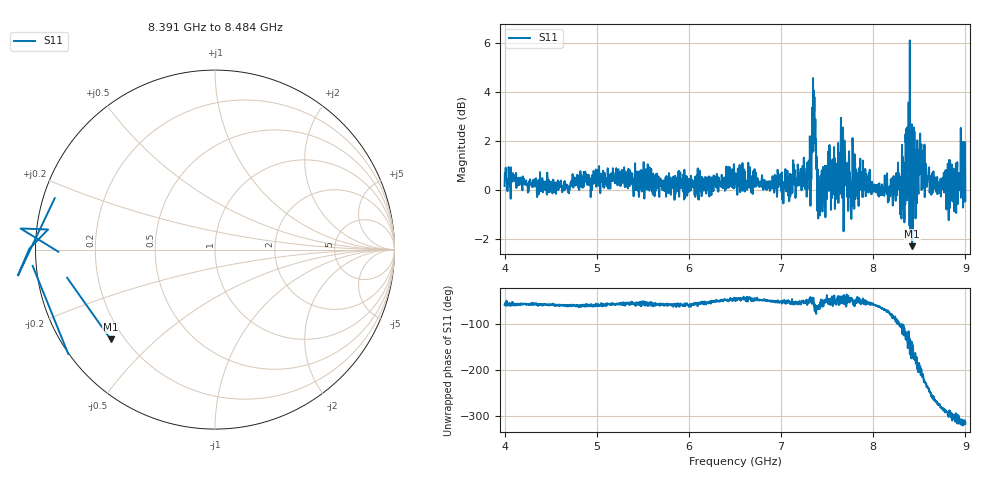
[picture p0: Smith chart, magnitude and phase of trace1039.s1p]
! Created with skrf 1.8.0 (http://scikit-rf.org).
# Hz S RI R 50.0
!freq ReS11 ImS11
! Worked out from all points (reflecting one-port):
!   1601 points, 4 GHz to 9 GHz, reference 50 ohm
!   lowest |S11| = -2.3 dB at 8.422 GHz (marker M1), VSWR 7.57, Z = 7.49 - j18.1 ohm
!   phase of S11 starts at -58 deg and turns -257 deg over the sweep
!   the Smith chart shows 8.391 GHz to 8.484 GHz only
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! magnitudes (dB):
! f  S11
! 4 GHz  0.1
! 4.625 GHz  -0.1
! 5.25 GHz  0.2
! 5.875 GHz  0.3
! 6.5 GHz  0.2
! 7.125 GHz  0.4
! 7.303 GHz  0.4
! 7.359 GHz  3.2
! 7.412 GHz  -0.3
! 7.512 GHz  1.6
! 7.609 GHz  0.8
! 7.65 GHz  2.9
! 7.75 GHz  0.4
! 8.294 GHz  -0.1
! 8.316 GHz  1.1
! 8.375 GHz  1.1
! 8.394 GHz  -1.5
! 8.412 GHz  0.2
! 8.422 GHz  -2.3
! 8.425 GHz  -1.5
! 8.447 GHz  2.4
! 8.459 GHz  -1.2
! 8.519 GHz  1.4
! 8.606 GHz  0.9
! 8.722 GHz  -0.1
! 8.881 GHz  -0.9
! 8.972 GHz  0.7
! 9 GHz  -0.5
